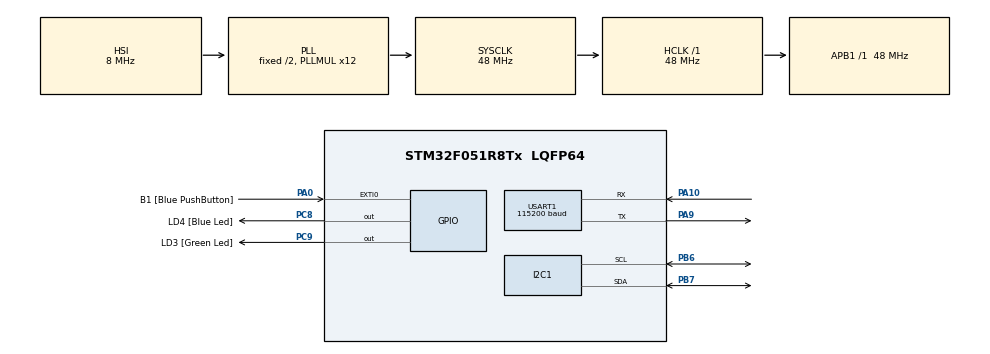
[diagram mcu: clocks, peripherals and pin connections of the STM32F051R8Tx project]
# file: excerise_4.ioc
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Mcu.Family=STM32F0
Mcu.Name=STM32F051R8Tx
Mcu.Package=LQFP64
PA0.GPIO_Label=B1 [Blue PushButton]
PA0.GPIO_ModeDefaultEXTI=GPIO_MODE_EVT_RISING
PA0.Signal=GPXTI0
PA10.Mode=Asynchronous
PA10.Signal=USART1_RX
PA13.GPIO_Label=SWDIO
PA13.Mode=Serial_Wire
PA13.Signal=SYS_SWDIO
PA14.GPIO_Label=SWCLK
PA14.Mode=Serial_Wire
PA14.Signal=SYS_SWCLK
PA9.Mode=Asynchronous
PA9.Signal=USART1_TX
PB6.Mode=I2C
PB6.Signal=I2C1_SCL
PB7.Mode=I2C
PB7.Signal=I2C1_SDA
PC8.GPIO_Label=LD4 [Blue Led]
PC8.Signal=GPIO_Output
PC9.GPIO_Label=LD3 [Green Led]
PC9.Signal=GPIO_Output
ProjectManager.HeapSize=0x200
ProjectManager.StackSize=0x400
ProjectManager.TargetToolchain=STM32CubeIDE
RCC.AHBFreq_Value=48000000
RCC.APB1Freq_Value=48000000
RCC.APB1TimFreq_Value=48000000
RCC.HCLKFreq_Value=48000000
RCC.PLLMUL=RCC_PLL_MUL12
RCC.SYSCLKFreq_VALUE=48000000
RCC.SYSCLKSource=RCC_SYSCLKSOURCE_PLLCLK
USART1.BaudRate=115200
USART1.VirtualMode-Asynchronous=VM_ASYNC
board=STM32F0DISCOVERY

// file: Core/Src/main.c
/* USER CODE BEGIN Header */
/**
  ******************************************************************************
  * @file           : main.c
  * @brief          : Main program body
  ******************************************************************************
  * @attention
  *
  * Copyright (c) 2024 STMicroelectronics.
  * All rights reserved.
  *
  * This software is licensed under terms that can be found in the LICENSE file
  * in the root directory of this software component.
  * If no LICENSE file comes with this software, it is provided AS-IS.
  *
  ******************************************************************************
  */
/* USER CODE END Header */
#include "main.h"
#include "string.h"
#include "stdio.h"
#include "stdlib.h"

I2C_HandleTypeDef hi2c1;

UART_HandleTypeDef huart1;

void SystemClock_Config(void);
static void MX_GPIO_Init(void);
static void MX_USART1_UART_Init(void);
static void MX_I2C1_Init(void);
/* USER CODE BEGIN PFP */

/**
 * I2C_handle - the handle to the I2C structure
 * TMP_ADDR - the specific address of the temperature sensor to get the data for
 * UART_handle - the handle to the UART structure
 */
static void tempSensorGetData(I2C_HandleTypeDef I2C_handle,const uint8_t TMP_ADDR, UART_HandleTypeDef UART_handle);

/* USER CODE END PFP */

/* USER CODE BEGIN 0 */
static void tempSensorGetData(I2C_HandleTypeDef I2C_handle,const uint8_t TMP_ADDR, UART_HandleTypeDef UART_handle){
		  uint8_t buf[12];

		  uint16_t val;

		  float temperature_celsius;

		  char uart_buf[50];

		  int buf_len;
		  static const uint8_t REG_TEMP = 0x00;

		 buf[0] = REG_TEMP;
	/*
		  Send a write request to the I2C and check successful return.
		  */
		  if (HAL_I2C_Master_Transmit(&hi2c1, TMP_ADDR, buf, 1, HAL_MAX_DELAY) != HAL_OK) {

			  /*
			   Load an error message into the UART buffer.
			   */
			  buf_len = sprintf(uart_buf,"Master Transmit Returned a problem\r\n");

		  } else if

		  /*
		   Receive the Data from the specified address and check successful return.
		   */
		  (HAL_I2C_Master_Receive(&hi2c1, TMP_ADDR, buf, 2, HAL_MAX_DELAY) != HAL_OK) {

			  /*
			  Load an error message into the UART buffer.
			  */
			  buf_len = sprintf(uart_buf,"Master Receive Returned a problem\r\n");

		  } else {

			  /*
			   Move the bytes into value by shifting the two buffer values.

			   Convert to two's compliment by shifting it to two's compliment.
			   */
			  val = ((int16_t)buf[0] << 5) | (buf[1] >> 3);
			  if ( val > 0x7FF ) {
				val |= 0xF000;
			  }

			  /*
			   Convert value into unit celsius temperature

			   converting it to decimal format
			   */
			  temperature_celsius = val * 625;
			  temperature_celsius /= 100;

			  /*
				Create the string to be printed by the UART to the computer
			   */
			  buf_len = sprintf(uart_buf,"[%u] %u.%u Celsius\r\n",TMP_ADDR,(unsigned int)temperature_celsius/100,(unsigned int)temperature_celsius%100);
		  }

		  /*
		   Transmit the correct message out through UART
		   */
		  HAL_UART_Transmit(&huart1, uart_buf, buf_len, HAL_MAX_DELAY);

}
/* USER CODE END 0 */

int main(void)
{

  /* MCU Configuration--------------------------------------------------------*/

  /* Reset of all peripherals, Initializes the Flash interface and the Systick. */
  HAL_Init();

  /* Configure the system clock */
  SystemClock_Config();

  /* Initialize all configured peripherals */
  MX_GPIO_Init();
  MX_USART1_UART_Init();
  MX_I2C1_Init();
  /* USER CODE BEGIN 2 */

  /*
   40-45 sensor with configuration A1 = 0 and A0 = 0 // 0x48

   30-35 Sensor with configuration A1 = 0 and A0 = 1 // 0x49

   15-20 Sensor with configuration A1 = 1 and A0 = 0 // 0x4A

   5-10 Sensor with configuration A1 = 1 and A0 = 1 // 0x4B
   */
  static const uint8_t TMP48_ADDR = 0x48 << 1;
  static const uint8_t TMP49_ADDR = 0x49 << 1;
  static const uint8_t TMP4A_ADDR = 0x4A << 1;
  static const uint8_t TMP4B_ADDR = 0x4B << 1;

  /* USER CODE END 2 */

  /* Infinite loop */
  while (1)
  {

	  /*
	   Method to find and transmit the data for a specific temp sensor.
	   */
	  tempSensorGetData(hi2c1,TMP48_ADDR, huart1);

	  tempSensorGetData(hi2c1,TMP49_ADDR, huart1);

	  tempSensorGetData(hi2c1,TMP4A_ADDR, huart1);

	  tempSensorGetData(hi2c1,TMP4B_ADDR, huart1);

	  /*
	   Have the loop recur every  second to reduce rate of temperature output especially with 4 pieces of data.
	   */
	  HAL_Delay(1000);

  }
}

void SystemClock_Config(void)
{
  RCC_OscInitTypeDef RCC_OscInitStruct = {0};
  RCC_ClkInitTypeDef RCC_ClkInitStruct = {0};
  RCC_PeriphCLKInitTypeDef PeriphClkInit = {0};

  /** Initializes the RCC Oscillators according to the specified parameters
  * in the RCC_OscInitTypeDef structure.
  */
  RCC_OscInitStruct.OscillatorType = RCC_OSCILLATORTYPE_HSI;
  RCC_OscInitStruct.HSIState = RCC_HSI_ON;
  RCC_OscInitStruct.HSICalibrationValue = RCC_HSICALIBRATION_DEFAULT;
  RCC_OscInitStruct.PLL.PLLState = RCC_PLL_ON;
  RCC_OscInitStruct.PLL.PLLSource = RCC_PLLSOURCE_HSI;
  RCC_OscInitStruct.PLL.PLLMUL = RCC_PLL_MUL12;
  RCC_OscInitStruct.PLL.PREDIV = RCC_PREDIV_DIV1;
  if (HAL_RCC_OscConfig(&RCC_OscInitStruct) != HAL_OK)
  {
    Error_Handler();
  }

  /** Initializes the CPU, AHB and APB buses clocks
  */
  RCC_ClkInitStruct.ClockType = RCC_CLOCKTYPE_HCLK|RCC_CLOCKTYPE_SYSCLK
                              |RCC_CLOCKTYPE_PCLK1;
  RCC_ClkInitStruct.SYSCLKSource = RCC_SYSCLKSOURCE_PLLCLK;
  RCC_ClkInitStruct.AHBCLKDivider = RCC_SYSCLK_DIV1;
  RCC_ClkInitStruct.APB1CLKDivider = RCC_HCLK_DIV1;

  if (HAL_RCC_ClockConfig(&RCC_ClkInitStruct, FLASH_LATENCY_1) != HAL_OK)
  {
    Error_Handler();
  }
  PeriphClkInit.PeriphClockSelection = RCC_PERIPHCLK_USART1|RCC_PERIPHCLK_I2C1;
  PeriphClkInit.Usart1ClockSelection = RCC_USART1CLKSOURCE_PCLK1;
  PeriphClkInit.I2c1ClockSelection = RCC_I2C1CLKSOURCE_HSI;
  if (HAL_RCCEx_PeriphCLKConfig(&PeriphClkInit) != HAL_OK)
  {
    Error_Handler();
  }
}

static void MX_I2C1_Init(void)
{

  hi2c1.Instance = I2C1;
  hi2c1.Init.Timing = 0x2000090E;
  hi2c1.Init.OwnAddress1 = 0;
  hi2c1.Init.AddressingMode = I2C_ADDRESSINGMODE_7BIT;
  hi2c1.Init.DualAddressMode = I2C_DUALADDRESS_DISABLE;
  hi2c1.Init.OwnAddress2 = 0;
  hi2c1.Init.OwnAddress2Masks = I2C_OA2_NOMASK;
  hi2c1.Init.GeneralCallMode = I2C_GENERALCALL_DISABLE;
  hi2c1.Init.NoStretchMode = I2C_NOSTRETCH_DISABLE;
  if (HAL_I2C_Init(&hi2c1) != HAL_OK)
  {
    Error_Handler();
  }

  /** Configure Analogue filter
  */
  if (HAL_I2CEx_ConfigAnalogFilter(&hi2c1, I2C_ANALOGFILTER_ENABLE) != HAL_OK)
  {
    Error_Handler();
  }

  /** Configure Digital filter
  */
  if (HAL_I2CEx_ConfigDigitalFilter(&hi2c1, 0) != HAL_OK)
  {
    Error_Handler();
  }

}

static void MX_USART1_UART_Init(void)
{

  huart1.Instance = USART1;
  huart1.Init.BaudRate = 115200;
  huart1.Init.WordLength = UART_WORDLENGTH_8B;
  huart1.Init.StopBits = UART_STOPBITS_1;
  huart1.Init.Parity = UART_PARITY_NONE;
  huart1.Init.Mode = UART_MODE_TX_RX;
  huart1.Init.HwFlowCtl = UART_HWCONTROL_NONE;
  huart1.Init.OverSampling = UART_OVERSAMPLING_16;
  huart1.Init.OneBitSampling = UART_ONE_BIT_SAMPLE_DISABLE;
  huart1.AdvancedInit.AdvFeatureInit = UART_ADVFEATURE_NO_INIT;
  if (HAL_UART_Init(&huart1) != HAL_OK)
  {
    Error_Handler();
  }

}

static void MX_GPIO_Init(void)
{
  GPIO_InitTypeDef GPIO_InitStruct = {0};

  /* GPIO Ports Clock Enable */
  __HAL_RCC_GPIOA_CLK_ENABLE();
  __HAL_RCC_GPIOC_CLK_ENABLE();
  __HAL_RCC_GPIOB_CLK_ENABLE();

  /*Configure GPIO pin Output Level */
  HAL_GPIO_WritePin(GPIOC, LD4_Pin|LD3_Pin, GPIO_PIN_RESET);

  /*Configure GPIO pin : B1_Pin */
  GPIO_InitStruct.Pin = B1_Pin;
  GPIO_InitStruct.Mode = GPIO_MODE_EVT_RISING;
  GPIO_InitStruct.Pull = GPIO_NOPULL;
  HAL_GPIO_Init(B1_GPIO_Port, &GPIO_InitStruct);

  /*Configure GPIO pins : LD4_Pin LD3_Pin */
  GPIO_InitStruct.Pin = LD4_Pin|LD3_Pin;
  GPIO_InitStruct.Mode = GPIO_MODE_OUTPUT_PP;
  GPIO_InitStruct.Pull = GPIO_NOPULL;
  GPIO_InitStruct.Speed = GPIO_SPEED_FREQ_LOW;
  HAL_GPIO_Init(GPIOC, &GPIO_InitStruct);

}

void Error_Handler(void)
{
  __disable_irq();
  while (1)
  {
  }
}
